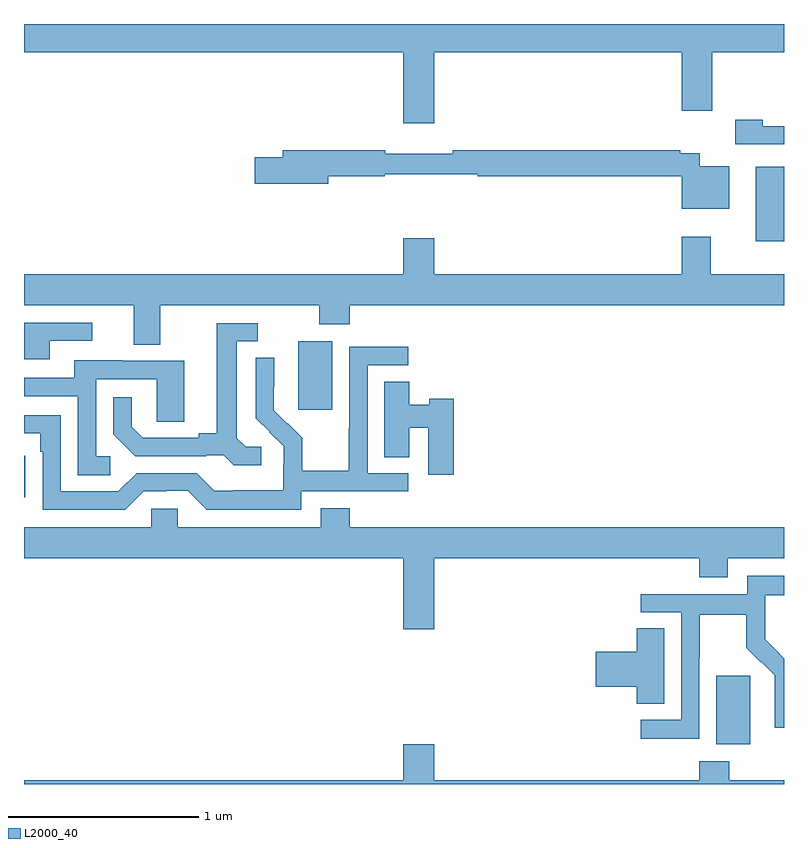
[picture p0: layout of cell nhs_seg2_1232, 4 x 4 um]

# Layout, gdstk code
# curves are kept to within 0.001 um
import gdstk
lib = gdstk.Library(unit=1e-6, precision=1e-09)
def R(c, l, rs):  # rectangles x0, y0, x1, y1
    for r in rs: c.add(gdstk.rectangle(r[:2], r[2:], *l))
def P(c, l, *ps):  # polygons
    for p in ps: c.add(gdstk.Polygon(p, *l))
L2000_40 = (2000, 40)

nhs_seg2_1232 = lib.new_cell('nhs_seg2_1232')
R(nhs_seg2_1232, L2000_40, [(178.643,628.01,178.822,628.371), (175,629.31,175.007,629.528), (176.444,629.769,176.623,630.13), (178.85,630.656,179,631.048)])
P(nhs_seg2_1232, L2000_40, [(177.16,631.652),(178.463,631.652),(178.463,631.344),(178.623,631.344),(178.623,631.652),(179,631.652),(179,631.8),(175,631.8),(175,631.652),(176.996,631.652),(176.996,631.278),(177.16,631.278)],
  [(179,631.263),(178.887,631.263),(178.887,631.296),(178.743,631.296),(178.743,631.167),(179,631.167)],
  [(178.711,631.051),(178.557,631.051),(178.557,631.119),(178.454,631.119),(178.454,631.136),(177.256,631.136),(177.256,631.117),(176.9,631.117),(176.9,631.136),(176.363,631.136),(176.363,631.1),(176.214,631.1),(176.214,630.958),(176.602,630.958),(176.602,631),(176.898,631),(176.898,631.008),(177.387,631.008),(177.387,631),(178.461,631),(178.461,630.827),(178.711,630.827)],
  [(175.717,630.32),(176.554,630.32),(176.554,630.221),(176.714,630.221),(176.714,630.32),(179,630.32),(179,630.484),(178.615,630.484),(178.615,630.679),(178.463,630.679),(178.463,630.484),(177.16,630.484),(177.16,630.673),(176.996,630.673),(176.996,630.484),(175,630.484),(175,630.32),(175.577,630.32),(175.577,630.112),(175.717,630.112)],
  [(175.135,630.132),(175.36,630.132),(175.36,630.228),(175,630.228),(175,630.036),(175.135,630.036)],
  [(176.248,629.574),(176.166,629.574),(176.119,629.621),(176.119,630.129),(176.23,630.129),(176.23,630.225),(176.015,630.225),(176.015,629.645),(175.919,629.645),(175.919,629.622),(175.624,629.622),(175.567,629.679),(175.567,629.836),(175.47,629.836),(175.47,629.642),(175.586,629.526),(175.958,629.526),(175.958,629.529),(176.052,629.529),(176.104,629.477),(176.248,629.477)],
  [(176.46,629.34),(177.022,629.34),(177.022,629.436),(176.808,629.436),(176.808,630.003),(177.022,630.003),(177.022,630.102),(176.712,630.102),(176.712,629.672),(176.71,629.672),(176.71,629.449),(176.465,629.449),(176.465,629.623),(176.388,629.7),(176.385,629.697),(176.315,629.768),(176.316,630.044),(176.22,630.044),(176.22,629.726),(176.366,629.578),(176.366,629.481),(176.364,629.481),(176.364,629.347),(176.101,629.347),(176.101,629.343),(176.001,629.343),(175.908,629.436),(175.593,629.436),(175.497,629.34),(175.194,629.34),(175.194,629.742),(175,629.742),(175,629.646),(175.085,629.646),(175.085,629.549),(175.098,629.549),(175.098,629.244),(175.533,629.244),(175.629,629.34),(175.748,629.34),(175.748,629.343),(175.863,629.343),(175.963,629.243),(176.46,629.243)],
  [(175.453,629.526),(175.38,629.526),(175.38,629.931),(175.698,629.931),(175.698,629.707),(175.843,629.707),(175.843,630.027),(175.519,630.027),(175.519,630.031),(175.265,630.031),(175.265,629.937),(175,629.937),(175,629.841),(175.284,629.841),(175.284,629.425),(175.453,629.425)],
  [(177.263,629.828),(177.132,629.828),(177.132,629.797),(177.028,629.797),(177.028,629.918),(176.897,629.918),(176.897,629.521),(177.028,629.521),(177.028,629.675),(177.128,629.675),(177.128,629.427),(177.263,629.427)],
  [(177.16,628.988),(178.553,628.988),(178.553,628.889),(178.705,628.889),(178.705,628.988),(179,628.988),(179,629.152),(176.714,629.152),(176.714,629.251),(176.561,629.251),(176.561,629.152),(175.809,629.152),(175.809,629.25),(175.671,629.25),(175.671,629.152),(175,629.152),(175,628.988),(176.996,628.988),(176.996,628.614),(177.16,628.614)],
  [(178.554,628.468),(178.557,628.468),(178.557,628.692),(178.801,628.692),(178.801,628.517),(178.878,628.44),(178.881,628.443),(178.952,628.373),(178.952,628.25),(178.95,628.25),(178.95,628.096),(179,628.096),(179,628.46),(178.973,628.487),(178.974,628.488),(178.9,628.562),(178.9,628.659),(178.902,628.659),(178.902,628.793),(179,628.793),(179,628.897),(178.806,628.897),(178.806,628.8),(178.245,628.8),(178.245,628.704),(178.458,628.704),(178.458,628.137),(178.245,628.137),(178.245,628.039),(178.554,628.039)],
  [(178.369,628.619),(178.226,628.619),(178.226,628.496),(178.008,628.496),(178.008,628.313),(178.226,628.313),(178.226,628.222),(178.369,628.222)],
  [(179,627.82),(178.713,627.82),(178.713,627.919),(178.553,627.919),(178.553,627.82),(177.16,627.82),(177.16,628.009),(176.996,628.009),(176.996,627.82),(175,627.82),(175,627.8),(179,627.8)])

lib.write_gds('nhs_seg2_1232.gds')
